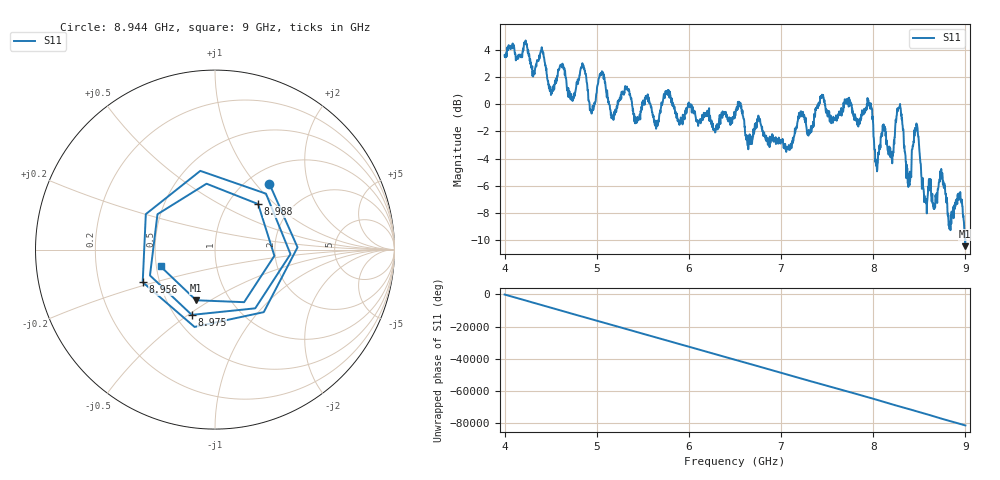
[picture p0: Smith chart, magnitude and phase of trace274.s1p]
! Created with skrf 1.8.0 (http://scikit-rf.org).
# Hz S RI R 50.0
!freq ReS11 ImS11
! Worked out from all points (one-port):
!   1601 points, 4 GHz to 9 GHz, reference 50 ohm
!   lowest |S11| = -10.4 dB at 8.997 GHz (marker M1), VSWR 1.86, Z = 35 - j21.7 ohm
!   |S11| at or under -10 dB: 8.995621 GHz to 8.999803 GHz (4.182 MHz wide, 0.0465 % of centre)
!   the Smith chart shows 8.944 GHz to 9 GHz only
!   S11 on the Smith chart (normalised r, x): 8.944 GHz: 1.25, +1.18; 8.956 GHz: 0.40, -0.18; 8.975 GHz: 0.60, -0.52; 8.988 GHz: 1.37, +0.79; 9 GHz: 0.53, -0.11
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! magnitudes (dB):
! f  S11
! 4 GHz  3.6
! 4.406 GHz  4.0
! 4.506 GHz  0.8
! 4.625 GHz  2.7
! 4.725 GHz  0.6
! 4.856 GHz  2.8
! 4.947 GHz  -0.5
! 5.047 GHz  2.1
! 5.169 GHz  -1.0
! 5.25 GHz  0.5
! 5.875 GHz  -1.0
! 6.5 GHz  -0.9
! 7.125 GHz  -2.9
! 7.75 GHz  0.0
! 7.962 GHz  0.0
! 8.038 GHz  -4.6
! 8.112 GHz  -1.5
! 8.203 GHz  -3.5
! 8.284 GHz  -0.2
! 8.375 GHz  -5.8
! 8.469 GHz  -1.4
! 8.566 GHz  -7.0
! 8.944 GHz  -6.5
! 8.956 GHz  -7.1
! 8.975 GHz  -8.3
! 8.988 GHz  -9.1
! 8.997 GHz  -10.4
! 9 GHz  -10.0
